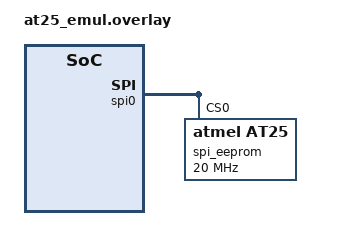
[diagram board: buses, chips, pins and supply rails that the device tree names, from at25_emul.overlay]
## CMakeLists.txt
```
#
# Copyright (c) 2019 Vestas Wind Systems A/S
#
# SPDX-License-Identifier: Apache-2.0
#

cmake_minimum_required(VERSION 3.28.0)
find_package(Zephyr REQUIRED HINTS $ENV{ZEPHYR_BASE})
project(eeprom_api)

FILE(GLOB app_sources src/*.c)
target_sources(app PRIVATE ${app_sources})
```

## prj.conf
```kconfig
CONFIG_ZTEST=y
CONFIG_TEST_USERSPACE=y
CONFIG_EEPROM=y
```

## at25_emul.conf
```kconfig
# Copyright (c) 2026 Axon Enterprise, Inc.
# SPDX-License-Identifier: Apache-2.0

CONFIG_EMUL=y
CONFIG_EEPROM_INIT_PRIORITY=75
CONFIG_EEPROM_AT25_EMUL=y
```

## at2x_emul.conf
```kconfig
# Copyright (c) 2020 Nordic Semiconductor ASA
# SPDX-License-Identifier: Apache-2.0

CONFIG_EMUL=y
CONFIG_EEPROM_INIT_PRIORITY=75
CONFIG_EEPROM_AT2X_EMUL=y
```

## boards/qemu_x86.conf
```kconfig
CONFIG_EEPROM_INIT_PRIORITY=75
```

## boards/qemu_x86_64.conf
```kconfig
CONFIG_DYNAMIC_INTERRUPTS=y
CONFIG_PCIE=y

CONFIG_SMBUS=y
CONFIG_SMBUS_INTEL_PCH=y
```

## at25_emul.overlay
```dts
/*
 * Copyright (c) 2026 Axon Enterprise, Inc.
 *
 * SPDX-License-Identifier: Apache-2.0
 */

#include <freq.h>

/ {
	aliases {
		eeprom-1 = &spi_eeprom;
	};
};

&spi0 {
	spi_eeprom: eeprom@0 {
		compatible = "atmel,at25";
		reg = <0x0>;
		size = <512>;
		pagesize = <16>;
		address-width = <9>;
		spi-max-frequency = <DT_FREQ_M(20)>;
		timeout = <5>;
	};
};
```

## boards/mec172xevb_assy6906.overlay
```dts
/*
 * Copyright (c) 2022, Microchip Technology Inc.
 *
 * SPDX-License-Identifier: Apache-2.0
 */

/ {
	aliases {
		eeprom-0 = &eeprom;
	};
};

&eeprom {

	pinctrl-0 = <&eeprom_cs_gpio116
		     &eeprom_clk_gpio117
		     &eeprom_mosi_gpio074
		     &eeprom_miso_gpio075>;
	pinctrl-names = "default";
	status = "okay";
};
```

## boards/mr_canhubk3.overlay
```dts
/*
 * Copyright 2023 NXP
 *
 * SPDX-License-Identifier: Apache-2.0
 */

/* Connect I2C0 (connector P4) to the external eeprom Microchip AT24C01C-XHM */

/ {
	aliases {
		eeprom-0 = &eeprom0;
	};
};

&lpi2c0 {
	status = "okay";

	eeprom0: eeprom@50 {
		compatible = "atmel,at24";
		reg = <0x50>;
		size = <128>;
		pagesize = <8>;
		address-width = <8>;
		timeout = <5>;
	};
};
```

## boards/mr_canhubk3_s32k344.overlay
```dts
/*
 * Copyright 2023 NXP
 *
 * SPDX-License-Identifier: Apache-2.0
 */

/* Connect I2C0 (connector P4) to the external eeprom Microchip AT24C01C-XHM */

/ {
	aliases {
		eeprom-0 = &eeprom0;
	};
};

&lpi2c0 {
	status = "okay";
	eeprom0: eeprom@50 {
		compatible = "atmel,at24";
		reg = <0x50>;
		size = <128>;
		pagesize = <8>;
		address-width = <8>;
		timeout = <5>;
	};
};
```

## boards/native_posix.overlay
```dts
/* Copyright (c) 2020 Nordic Semiconductor ASA
 * SPDX-License-Identifier: Apache-2.0
 */

/ {
	aliases {
		eeprom-1 = &i2c_eeprom;
	};
};

&i2c0 {
	i2c_eeprom: eeprom@57 {
		compatible = "atmel,at24";
		reg = <0x57>;
		size = <256>;
		pagesize = <8>;
		address-width = <8>;
		timeout = <5>;
	};
};
```

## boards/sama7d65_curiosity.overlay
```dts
/*
 * Copyright (C) 2025 Microchip Technology Inc. and its subsidiaries
 *
 * SPDX-License-Identifier: Apache-2.0
 */

/ {
	aliases {
		eeprom-0 = &eeprom0;
	};
};
```

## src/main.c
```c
/*
 * Copyright (c) 2019 Vestas Wind Systems A/S
 *
 * SPDX-License-Identifier: Apache-2.0
 */

#include <zephyr/device.h>
#include <zephyr/drivers/eeprom.h>
#include <zephyr/ztest.h>

/* There is no obvious way to pass this to tests, so use a global */
ZTEST_BMEM static const struct device *eeprom;

/* Test retrieval of eeprom size */
ZTEST_USER(eeprom, test_size)
{
	size_t size;

	size = eeprom_get_size(eeprom);
	zassert_not_equal(0, size, "Unexpected size of zero bytes");
}

/* Test write outside eeprom area */
ZTEST_USER(eeprom, test_out_of_bounds)
{
	const uint8_t data[4] = { 0x01, 0x02, 0x03, 0x03 };
	size_t size;
	int rc;

	size = eeprom_get_size(eeprom);

	rc = eeprom_write(eeprom, size - 1, data, sizeof(data));
	zassert_equal(-EINVAL, rc, "Unexpected error code (%d)", rc);
}

/* Test write and rewrite */
ZTEST_USER(eeprom, test_write_rewrite)
{
	const uint8_t wr_buf1[4] = { 0xFF, 0xEE, 0xDD, 0xCC };
	const uint8_t wr_buf2[sizeof(wr_buf1)] = { 0xAA, 0xBB, 0xCC, 0xDD };
	uint8_t rd_buf[sizeof(wr_buf1)];
	size_t size;
	off_t address;
	int rc;

	size = eeprom_get_size(eeprom);

	address = 0;
	while (address < MIN(size, 16)) {
		rc = eeprom_write(eeprom, address, wr_buf1, sizeof(wr_buf1));
		zassert_ok(rc, "Unexpected error code (%d)", rc);

		rc = eeprom_read(eeprom, address, rd_buf, sizeof(rd_buf));
		zassert_ok(rc, "Unexpected error code (%d)", rc);

		rc = memcmp(wr_buf1, rd_buf, sizeof(wr_buf1));
		zassert_ok(rc, "Unexpected error code (%d)", rc);

		address += sizeof(wr_buf1);
	}

	address = 0;
	while (address < MIN(size, 16)) {
		rc = eeprom_write(eeprom, address, wr_buf2, sizeof(wr_buf2));
		zassert_ok(rc, "Unexpected error code (%d)", rc);

		rc = eeprom_read(eeprom, address, rd_buf, sizeof(rd_buf));
		zassert_ok(rc, "Unexpected error code (%d)", rc);

		rc = memcmp(wr_buf2, rd_buf, sizeof(wr_buf2));
		zassert_ok(rc, "Unexpected error code (%d)", rc);

		address += sizeof(wr_buf2);
	}
}

/* Test write at fixed address */
ZTEST_USER(eeprom, test_write_at_fixed_address)
{
	const uint8_t wr_buf1[4] = { 0xFF, 0xEE, 0xDD, 0xCC };
	uint8_t rd_buf[sizeof(wr_buf1)];
	size_t size;
	const off_t address = 0;
	int rc;

	size = eeprom_get_size(eeprom);

	zassert_true(size >= sizeof(wr_buf1), "EEPROM too small: %zu < %zu", size, sizeof(wr_buf1));

	for (int i = 0; i < 16; i++) {
		rc = eeprom_write(eeprom, address, wr_buf1, sizeof(wr_buf1));
		zassert_ok(rc, "Unexpected error code (%d)", rc);

		rc = eeprom_read(eeprom, address, rd_buf, sizeof(rd_buf));
		zassert_ok(rc, "Unexpected error code (%d)", rc);

		rc = memcmp(wr_buf1, rd_buf, sizeof(wr_buf1));
		zassert_ok(rc, "Unexpected error code (%d)", rc);
	}
}

/* Test write one byte at a time */
ZTEST_USER(eeprom, test_write_byte)
{
	const uint8_t wr = 0x00;
	uint8_t rd = 0xff;
	int rc;

	for (off_t address = 0; address < 16; address++) {
		rc = eeprom_write(eeprom, address, &wr, 1);
		zassert_ok(rc, "Unexpected error code (%d)", rc);

		rc = eeprom_read(eeprom, address, &rd, 1);
		zassert_ok(rc, "Unexpected error code (%d)", rc);

		zassert_equal(wr - rd, rc, "Unexpected error code (%d)", rc);
	}
}

/* Test write a pattern of bytes at increasing address */
ZTEST_USER(eeprom, test_write_at_increasing_address)
{
	const uint8_t wr_buf1[8] = {0xEE, 0xDD, 0xCC, 0xBB, 0xFF, 0xEE, 0xDD,
				    0xCC };
	uint8_t rd_buf[sizeof(wr_buf1)];
	int rc;

	for (off_t address = 0; address < 4; address++) {
		rc = eeprom_write(eeprom, address, wr_buf1, sizeof(wr_buf1));
		zassert_ok(rc, "Unexpected error code (%d)", rc);

		rc = eeprom_read(eeprom, address, rd_buf, sizeof(rd_buf));
		zassert_ok(rc, "Unexpected error code (%d)", rc);

		rc = memcmp(wr_buf1, rd_buf, sizeof(wr_buf1));
		zassert_ok(rc, "Unexpected error code (%d)", rc);
	}
}

/* Test writing zero length data */
ZTEST_USER(eeprom, test_zero_length_write)
{
	const uint8_t wr_buf1[4] = { 0x10, 0x20, 0x30, 0x40 };
	const uint8_t wr_buf2[sizeof(wr_buf1)] = { 0xAA, 0xBB, 0xCC, 0xDD };
	uint8_t rd_buf[sizeof(wr_buf1)];
	int rc;

	rc = eeprom_write(eeprom, 0, wr_buf1, sizeof(wr_buf1));
	zassert_ok(rc, "Unexpected error code (%d)", rc);

	rc = eeprom_read(eeprom, 0, rd_buf, sizeof(rd_buf));
	zassert_ok(rc, "Unexpected error code (%d)", rc);

	rc = memcmp(wr_buf1, rd_buf, sizeof(wr_buf1));
	zassert_ok(rc, "Unexpected error code (%d)", rc);

	rc = eeprom_write(eeprom, 0, wr_buf2, 0);
	zassert_ok(rc, "Unexpected error code (%d)", rc);

	rc = eeprom_read(eeprom, 0, rd_buf, sizeof(rd_buf));
	zassert_ok(rc, "Unexpected error code (%d)", rc);

	rc = memcmp(wr_buf1, rd_buf, sizeof(wr_buf1));
	zassert_ok(rc, "Unexpected error code (%d)", rc);
}

ZTEST_USER(eeprom, test_addr_does_not_alias)
{
	const uint8_t low_pattern[4] = { 0xAA, 0xAA, 0xAA, 0xAA };
	const uint8_t high_pattern[4] = { 0x55, 0x55, 0x55, 0x55 };
	uint8_t rd_buf[4];
	const off_t low_offset = 0x00;
	const off_t high_offset = eeprom_get_size(eeprom) >> 2;
	int rc;

	rc = eeprom_write(eeprom, low_offset, low_pattern, sizeof(low_pattern));
	zassert_ok(rc, "Unexpected error code (%d)", rc);

	rc = eeprom_write(eeprom, high_offset, high_pattern, sizeof(high_pattern));
	zassert_ok(rc, "Unexpected error code (%d)", rc);

	rc = eeprom_read(eeprom, low_offset, rd_buf, sizeof(rd_buf));
	zassert_ok(rc, "Unexpected error code (%d)", rc);
	zassert_mem_equal(rd_buf, low_pattern, sizeof(low_pattern),
		"Write to high bank corrupted low bank data");

	rc = eeprom_read(eeprom, high_offset, rd_buf, sizeof(rd_buf));
	zassert_ok(rc, "Unexpected error code (%d)", rc);
	zassert_mem_equal(rd_buf, high_pattern, sizeof(high_pattern),
		"High bank did not retain its own data");
}

static void *eeprom_setup(void)
{
	zassert_true(device_is_ready(eeprom), "EEPROM device not ready");

	return NULL;
}

ZTEST_SUITE(eeprom, NULL, eeprom_setup, NULL, NULL, NULL);

/* Run all of our tests on the given EEPROM device */
static void run_tests_on_eeprom(const struct device *dev)
{
	eeprom = dev;

	printk("Running tests on device \"%s\"\n", eeprom->name);
	k_object_access_grant(eeprom, k_current_get());
	ztest_run_all(NULL, false, 1, 1);
}

void test_main(void)
{
	run_tests_on_eeprom(DEVICE_DT_GET(DT_ALIAS(eeprom_0)));

#if DT_NODE_HAS_STATUS_OKAY(DT_ALIAS(eeprom_1))
	run_tests_on_eeprom(DEVICE_DT_GET(DT_ALIAS(eeprom_1)));
#endif /* DT_NODE_HAS_STATUS_OKAY(DT_ALIAS(eeprom_1)) */

	ztest_verify_all_test_suites_ran();
}
```
